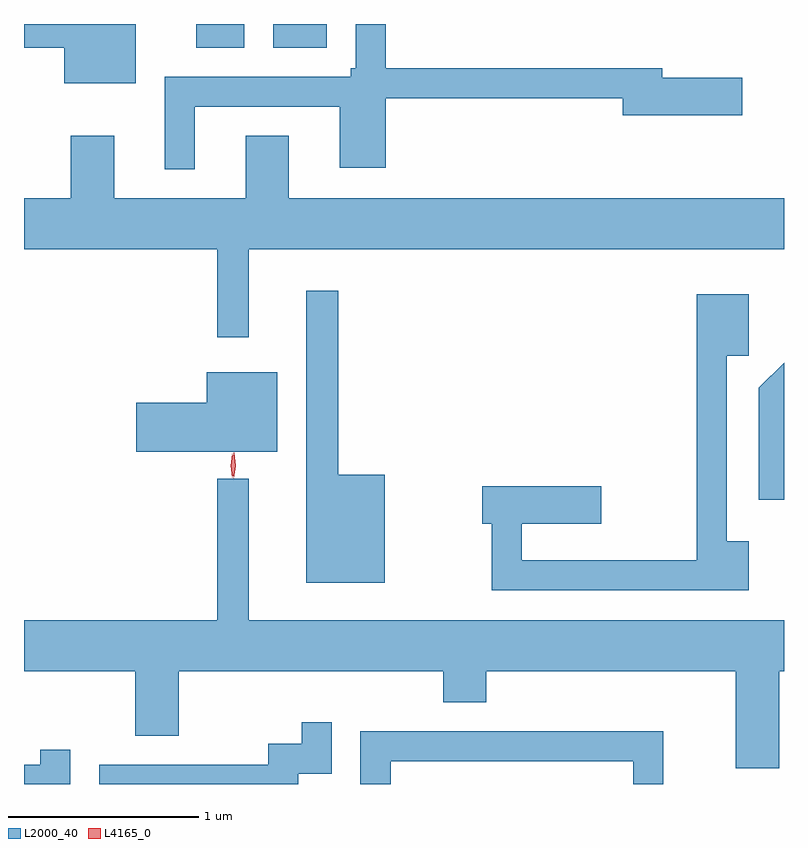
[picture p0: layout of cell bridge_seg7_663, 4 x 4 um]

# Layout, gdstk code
import gdstk
lib = gdstk.Library(unit=1e-6, precision=1e-09)
def R(c, l, rs):  # rectangles x0, y0, x1, y1
    for r in rs: c.add(gdstk.rectangle(r[:2], r[2:], *l))
def P(c, l, *ps):  # polygons
    for p in ps: c.add(gdstk.Polygon(p, *l))
L2000_40 = (2000, 40)
L4165_0 = (4165, 0)

bridge_seg7_663 = lib.new_cell('bridge_seg7_663')
R(bridge_seg7_663, L2000_40, [(956.721,1717.596,956.974,1717.722), (957.126,1717.596,957.409,1717.722)])
P(bridge_seg7_663, L2000_40, [(956.404,1717.722),(955.815,1717.722),(955.815,1717.596),(956.026,1717.596),(956.026,1717.411),(956.404,1717.411)],
  [(956.714,1717.286),(957.476,1717.286),(957.476,1716.966),(957.719,1716.966),(957.719,1717.331),(958.966,1717.331),(958.966,1717.241),(959.594,1717.241),(959.594,1717.439),(959.174,1717.439),(959.174,1717.489),(957.719,1717.489),(957.719,1717.722),(957.561,1717.722),(957.561,1717.489),(957.536,1717.489),(957.536,1717.444),(956.556,1717.444),(956.556,1716.958),(956.714,1716.958)],
  [(956.999,1716.536),(959.815,1716.536),(959.815,1716.804),(957.209,1716.804),(957.209,1717.134),(956.981,1717.134),(956.981,1716.804),(956.289,1716.804),(956.289,1717.134),(956.061,1717.134),(956.061,1716.804),(955.815,1716.804),(955.815,1716.536),(956.831,1716.536),(956.831,1716.073),(956.999,1716.073)],
  [(957.714,1715.349),(957.469,1715.349),(957.469,1716.318),(957.301,1716.318),(957.301,1714.781),(957.714,1714.781)],
  [(959.629,1714.999),(959.514,1714.999),(959.514,1715.976),(959.629,1715.976),(959.629,1716.299),(959.356,1716.299),(959.356,1714.899),(958.434,1714.899),(958.434,1715.091),(958.854,1715.091),(958.854,1715.289),(958.226,1715.289),(958.226,1715.091),(958.276,1715.091),(958.276,1714.741),(959.629,1714.741)],
  [(959.815,1715.94),(959.681,1715.807),(959.681,1715.218),(959.815,1715.218)],
  [(957.149,1715.889),(956.776,1715.889),(956.776,1715.729),(956.406,1715.729),(956.406,1715.471),(957.149,1715.471)],
  [(959.789,1714.316),(959.815,1714.316),(959.815,1714.584),(956.999,1714.584),(956.999,1715.328),(956.831,1715.328),(956.831,1714.584),(955.815,1714.584),(955.815,1714.316),(956.401,1714.316),(956.401,1713.976),(956.629,1713.976),(956.629,1714.316),(958.021,1714.316),(958.021,1714.151),(958.249,1714.151),(958.249,1714.316),(959.561,1714.316),(959.561,1713.806),(959.789,1713.806)],
  [(957.259,1713.776),(957.434,1713.776),(957.434,1714.048),(957.276,1714.048),(957.276,1713.934),(957.101,1713.934),(957.101,1713.824),(956.211,1713.824),(956.211,1713.722),(957.259,1713.722)],
  [(957.744,1713.841),(959.021,1713.841),(959.021,1713.722),(959.179,1713.722),(959.179,1713.999),(957.586,1713.999),(957.586,1713.722),(957.744,1713.722)],
  [(956.059,1713.903),(955.901,1713.903),(955.901,1713.824),(955.815,1713.824),(955.815,1713.722),(956.059,1713.722)])
P(bridge_seg7_663, L4165_0, [(956.919,1715.33),(956.919,1715.33),(956.91,1715.398),(956.92,1715.465),(956.921,1715.466),(956.921,1715.465),(956.93,1715.398),(956.92,1715.33)],
  [(956.911,1715.333),(956.902,1715.396),(956.911,1715.459),(956.912,1715.46),(956.912,1715.459),(956.922,1715.396),(956.912,1715.333),(956.912,1715.333)])

lib.write_gds('bridge_seg7_663.gds')
